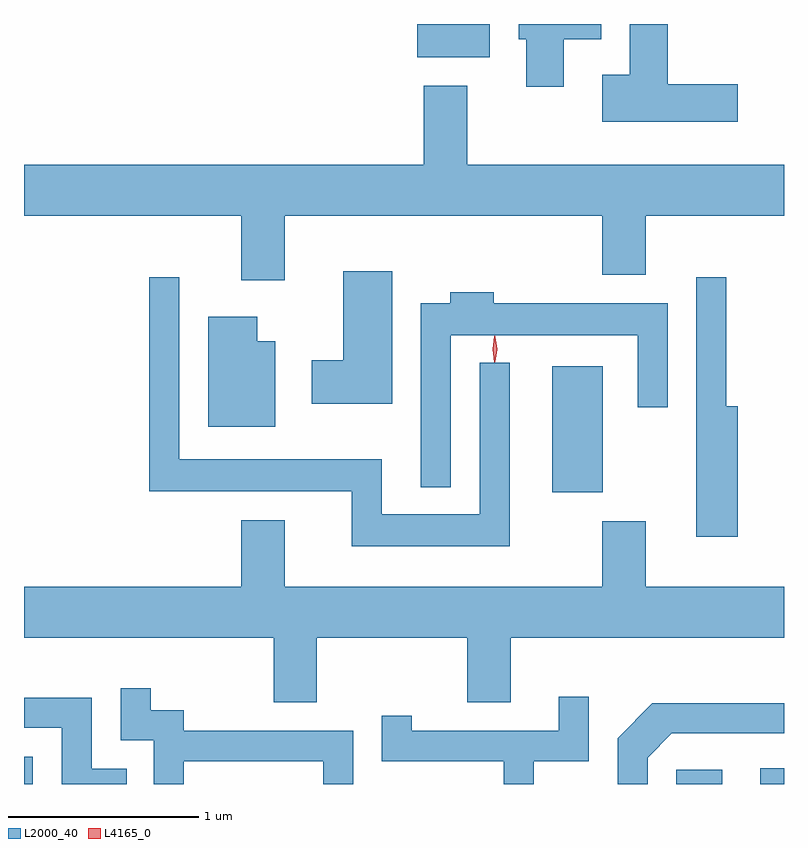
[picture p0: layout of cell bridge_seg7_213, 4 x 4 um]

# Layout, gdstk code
import gdstk
lib = gdstk.Library(unit=1e-6, precision=1e-09)
def R(c, l, rs):  # rectangles x0, y0, x1, y1
    for r in rs: c.add(gdstk.rectangle(r[:2], r[2:], *l))
def P(c, l, *ps):  # polygons
    for p in ps: c.add(gdstk.Polygon(p, *l))
L2000_40 = (2000, 40)
L4165_0 = (4165, 0)

bridge_seg7_213 = lib.new_cell('bridge_seg7_213')
R(bridge_seg7_213, L2000_40, [(1524.127,1669.145,1524.174,1669.289), (1527.561,1669.145,1527.803,1669.219), (1528.003,1669.145,1528.127,1669.229), (1526.906,1670.681,1527.174,1671.344), (1526.196,1672.971,1526.579,1673.145)])
P(bridge_seg7_213, L2000_40, [(1526.969,1673.066),(1527.164,1673.066),(1527.164,1673.145),(1526.731,1673.145),(1526.731,1673.066),(1526.771,1673.066),(1526.771,1672.816),(1526.969,1672.816)],
  [(1527.884,1672.829),(1527.514,1672.829),(1527.514,1673.145),(1527.316,1673.145),(1527.316,1672.879),(1527.171,1672.879),(1527.171,1672.631),(1527.884,1672.631)],
  [(1525.499,1672.136),(1527.171,1672.136),(1527.171,1671.826),(1527.399,1671.826),(1527.399,1672.136),(1528.127,1672.136),(1528.127,1672.404),(1526.459,1672.404),(1526.459,1672.819),(1526.231,1672.819),(1526.231,1672.404),(1524.127,1672.404),(1524.127,1672.136),(1525.271,1672.136),(1525.271,1671.796),(1525.499,1671.796)],
  [(1526.064,1671.844),(1525.806,1671.844),(1525.806,1671.374),(1525.641,1671.374),(1525.641,1671.146),(1526.064,1671.146)],
  [(1526.684,1671.363),(1526.526,1671.363),(1526.526,1670.564),(1526.009,1670.564),(1526.009,1670.854),(1524.944,1670.854),(1524.944,1671.813),(1524.786,1671.813),(1524.786,1670.686),(1525.851,1670.686),(1525.851,1670.396),(1526.684,1670.396)],
  [(1527.884,1671.134),(1527.824,1671.134),(1527.824,1671.813),(1527.666,1671.813),(1527.666,1670.446),(1527.884,1670.446)],
  [(1526.374,1671.506),(1527.356,1671.506),(1527.356,1671.128),(1527.514,1671.128),(1527.514,1671.674),(1526.599,1671.674),(1526.599,1671.734),(1526.371,1671.734),(1526.371,1671.674),(1526.216,1671.674),(1526.216,1670.708),(1526.374,1670.708)],
  [(1525.449,1671.474),(1525.354,1671.474),(1525.354,1671.604),(1525.096,1671.604),(1525.096,1671.026),(1525.449,1671.026)],
  [(1525.669,1669.916),(1526.461,1669.916),(1526.461,1669.576),(1526.689,1669.576),(1526.689,1669.916),(1528.127,1669.916),(1528.127,1670.184),(1527.399,1670.184),(1527.399,1670.529),(1527.171,1670.529),(1527.171,1670.184),(1525.499,1670.184),(1525.499,1670.534),(1525.271,1670.534),(1525.271,1670.184),(1524.127,1670.184),(1524.127,1669.916),(1525.441,1669.916),(1525.441,1669.576),(1525.669,1669.576)],
  [(1524.969,1669.266),(1525.701,1669.266),(1525.701,1669.145),(1525.859,1669.145),(1525.859,1669.424),(1524.969,1669.424),(1524.969,1669.534),(1524.794,1669.534),(1524.794,1669.648),(1524.636,1669.648),(1524.636,1669.376),(1524.811,1669.376),(1524.811,1669.145),(1524.969,1669.145)],
  [(1526.809,1669.266),(1527.099,1669.266),(1527.099,1669.603),(1526.941,1669.603),(1526.941,1669.424),(1526.169,1669.424),(1526.169,1669.503),(1526.011,1669.503),(1526.011,1669.266),(1526.651,1669.266),(1526.651,1669.145),(1526.809,1669.145)],
  [(1524.668,1669.224),(1524.484,1669.224),(1524.484,1669.599),(1524.127,1669.599),(1524.127,1669.441),(1524.326,1669.441),(1524.326,1669.145),(1524.668,1669.145)],
  [(1527.409,1669.284),(1527.537,1669.411),(1528.127,1669.411),(1528.127,1669.569),(1527.434,1669.569),(1527.251,1669.387),(1527.251,1669.145),(1527.409,1669.145)])
P(bridge_seg7_213, L4165_0, [(1526.603,1671.364),(1526.594,1671.433),(1526.603,1671.502),(1526.604,1671.503),(1526.604,1671.502),(1526.614,1671.433),(1526.604,1671.364),(1526.604,1671.364)],
  [(1526.606,1671.367),(1526.597,1671.434),(1526.606,1671.5),(1526.607,1671.501),(1526.607,1671.5),(1526.617,1671.434),(1526.607,1671.367),(1526.607,1671.367)])

lib.write_gds('bridge_seg7_213.gds')
